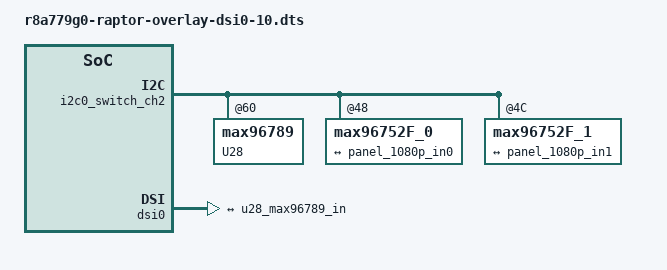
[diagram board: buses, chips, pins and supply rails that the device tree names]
// SPDX-License-Identifier: GPL-2.0

#include <dt-bindings/clock/r8a779g0-cpg-mssr.h>

/dts-v1/;
/plugin/;

#include <dt-bindings/gpio/gpio.h>
#include <dt-bindings/interrupt-controller/arm-gic.h>

/* overlay dsi to max96789 and 10" panel - disable sn65dsi86  */

&i2c0_switch_ch0 {
	U21: sn65dsi86@2c {
		status = "disabled";
	};
};

&i2c0_switch_ch2 {
	U28: max96789@60 {
		status = "okay";
	};

	max96752F_0@48 {
		status = "okay";

		panel_switch;
		
		ports {
			port@1 {
				max96752F_out0: endpoint {
					remote-endpoint = <&panel_1080p_in0>;
				};
			};
		};
	};

	max96752F_1@4C {
		status = "okay";

		panel_switch;
		
		ports {
			port@1 {
				max96752F_out1: endpoint {
					remote-endpoint = <&panel_1080p_in1>;
				};
			};
		};
	};
};

&dsi0 {
	ports {
		port@1 {
			endpoint {
				remote-endpoint = <&u28_max96789_in>;
			};
		};
	};
};
